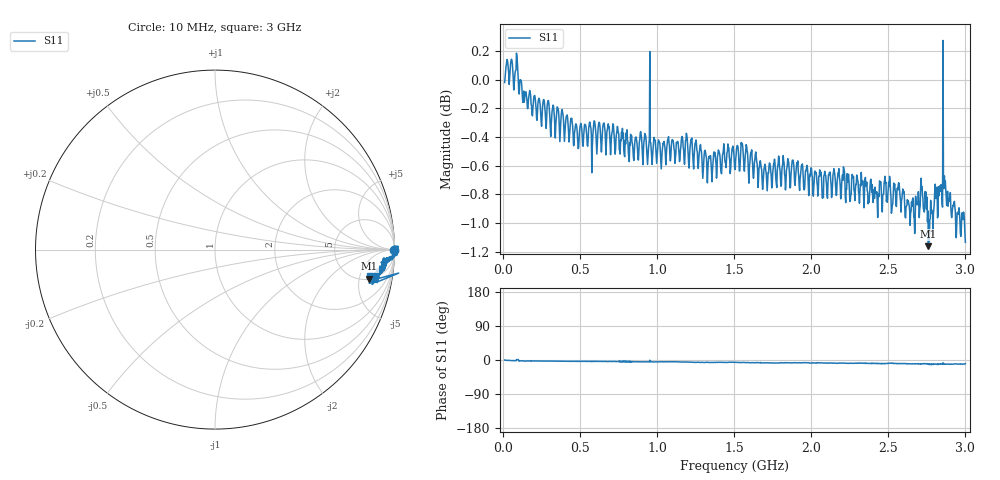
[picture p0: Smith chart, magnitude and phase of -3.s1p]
# HZ S RI R 50
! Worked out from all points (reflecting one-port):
!   1010 points, 10 MHz to 3 GHz, reference 50 ohm
!   lowest |S11| = -1.2 dB at 2.76 GHz (marker M1), VSWR 14.96, Z = 254 - j352 ohm
!   phase of S11 starts at -0 deg and turns -10 deg over the sweep
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1e7  0.9977 -0.00171
6.92666e7  0.9914 -0.0255
8.408325e7  1.007 -0.0349
1.018632e8  0.9891 -0.0368
1.166799e8  0.9988 -0.039
1.374232e8  0.9808 -0.0504
3.863429e8  0.9724 -0.0576
7.597225e8  0.9383 -0.0829
9.019623e8  0.9444 -0.0777
9.464123e8  0.9462 -0.0806
1.133102e9  0.9479 -0.0832
1.293122e9  0.9257 -0.0995
1.506482e9  0.9249 -0.1004
1.767255e9  0.9194 -0.1313
1.879861e9  0.9297 -0.12
1.962834e9  0.9222 -0.1161
2.001358e9  0.9229 -0.1243
2.253241e9  0.8971 -0.1351
2.327324e9  0.9113 -0.1322
2.463637e9  0.8994 -0.1453
2.514014e9  0.905 -0.1328
2.62662e9  0.8921 -0.1545
2.72441e9  0.8958 -0.1545
2.75997e9  0.8595 -0.1627
2.780714e9  0.8858 -0.1634
2.85776e9  0.8985 -0.1825
2.89332e9  0.8893 -0.1771
3e9  0.8649 -0.1481
